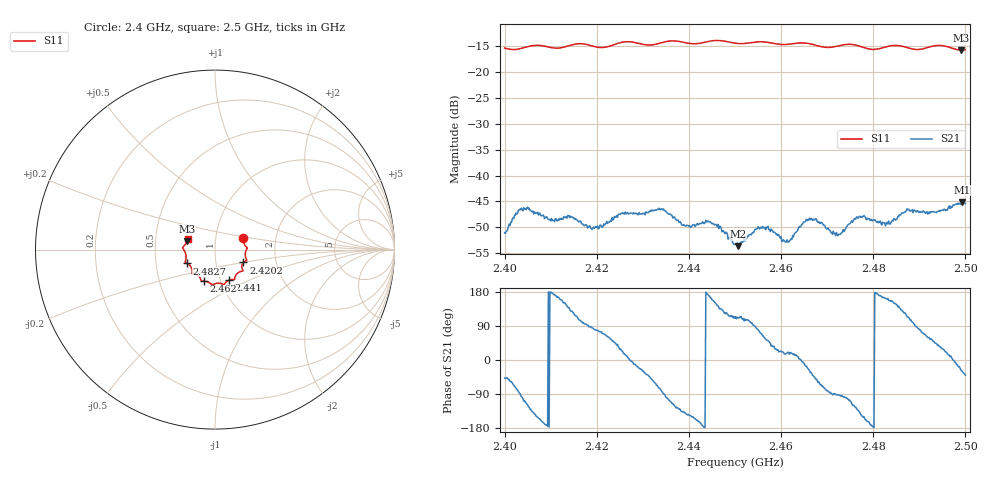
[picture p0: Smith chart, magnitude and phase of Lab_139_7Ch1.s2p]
# Hz S RI R 50
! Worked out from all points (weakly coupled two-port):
!   601 points, 2.4 GHz to 2.5 GHz, reference 50 ohm
!   highest |S21| = -45.12 dB at 2.4993 GHz (marker M1); lowest = -53.6 dB at 2.4507 GHz (marker M2)
!   lowest |S11| = -15.8 dB at 2.499 GHz (marker M3), VSWR 1.39, Z = 36.4 + j3.52 ohm
!   |S11| at or under -10 dB: start of sweep to end of sweep
!   S12 and S22 are empty: the file has one direction only
!   S11 on the Smith chart (normalised r, x): 2.4 GHz: 1.36, +0.17; 2.4202 GHz: 1.36, -0.20; 2.441 GHz: 1.10, -0.39; 2.462 GHz: 0.83, -0.30; 2.4827 GHz: 0.72, -0.11; 2.5 GHz: 0.73, +0.09
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2.4e9  0.1584 0.0623  0.00188 -0.00208  0 0  0 0
2.402833e9  0.1631 0.0299  0.000763 -0.00426  0 0  0 0
2.404667e9  0.1733 0.0156  -0.00187 -0.00429  0 0  0 0
2.416667e9  0.1773 -0.0609  -0.000649 0.00341  0 0  0 0
2.420167e9  0.1581 -0.0714  0.000636 0.0032  0 0  0 0
2.425167e9  0.1543 -0.1145  0.00372 0.00205  0 0  0 0
2.433333e9  0.1116 -0.151  0.00153 -0.00445  0 0  0 0
2.441e9  0.0784 -0.17  -0.00294 -0.00163  0 0  0 0
2.444667e9  0.0531 -0.1917  -0.00342 0.000981  0 0  0 0
2.45e9  0.0281 -0.1877  -0.000747 0.00204  0 0  0 0
2.450667e9  0.0215 -0.1869  -0.000771 0.00193  0 0  0 0
2.4555e9  -0.0146 -0.1953  0.00103 0.00299  0 0  0 0
2.462e9  -0.0609 -0.1757  0.00224 0.000817  0 0  0 0
2.466667e9  -0.0788 -0.168  0.00307 -0.00225  0 0  0 0
2.472333e9  -0.1162 -0.1352  -0.000104 -0.00262  0 0  0 0
2.476833e9  -0.1269 -0.1255  -0.00279 -0.00282  0 0  0 0
2.482667e9  -0.1566 -0.0771  -0.00311 0.000994  0 0  0 0
2.483333e9  -0.1607 -0.0751  -0.00335 0.0014  0 0  0 0
2.487333e9  -0.1625 -0.0565  -0.00199 0.00433  0 0  0 0
2.499e9  -0.1555 0.0471  0.00476 -0.0023  0 0  0 0
2.499333e9  -0.154 0.052  0.00475 -0.00286  0 0  0 0
2.5e9  -0.1521 0.0613  0.00413 -0.00345  0 0  0 0
